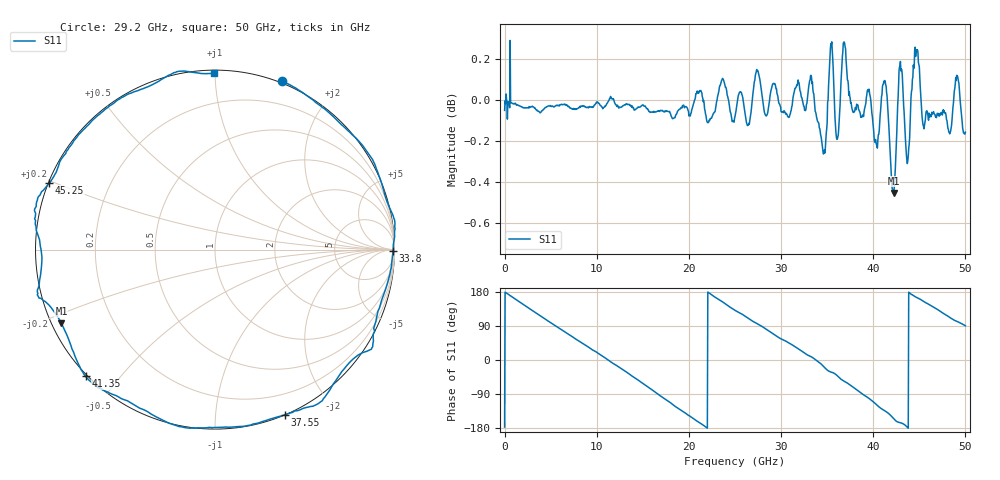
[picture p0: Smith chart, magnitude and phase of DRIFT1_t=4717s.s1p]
!Created with skrf (http://scikit-rf.org).
# Hz S RI R 50.0
!freq ReS11 ImS11
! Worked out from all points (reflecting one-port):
!   1001 points, 300 kHz to 50 GHz, reference 50 ohm
!   lowest |S11| = -0.5 dB at 42.2 GHz (marker M1), VSWR 38.45, Z = 1.37 - j11.4 ohm
!   phase of S11 starts at -177 deg and turns -813 deg over the sweep
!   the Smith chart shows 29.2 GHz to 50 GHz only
!   S11 on the Smith chart (normalised r, x): 29.2 GHz: -0.01, +1.47; 33.8 GHz: open; 37.55 GHz: 0.00, -1.51; 41.35 GHz: -0.00, -0.41; 45.25 GHz: 0.00, +0.19; 50 GHz: 0.02, +1.00
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300000  -0.9928 -0.0524
1.60029e9  -0.893 0.443
3.35028e9  -0.5707 0.815
6.250262e9  0.1979 0.9775
9.500243e9  0.8869 0.4532
1.115023e10  0.9979 0.0249
1.250022e10  0.9347 -0.3436
1.420021e10  0.6629 -0.7417
1.580021e10  0.2497 -0.9611
1.73502e10  -0.2027 -0.9728
1.875019e10  -0.5889 -0.8002
2.160017e10  -0.9919 -0.125
2.350016e10  -0.9211 0.4146
2.500015e10  -0.6496 0.7481
2.730014e10  -0.1285 1.008
2.920012e10  0.3714 0.9385
3.125011e10  0.7748 0.6309
3.38001e10  0.992 -0.00537
3.525009e10  0.8828 -0.5091
3.750008e10  0.4029 -0.9162
3.755007e10  0.3897 -0.9191
3.950006e10  -0.1848 -0.9876
4.135005e10  -0.7204 -0.7058
4.220005e10  -0.8559 -0.4107
4.375004e10  -0.9663 -0.022
4.525003e10  -0.9231 0.3716
4.775001e10  -0.51 0.8517
5e10  -0.00467 0.9821
